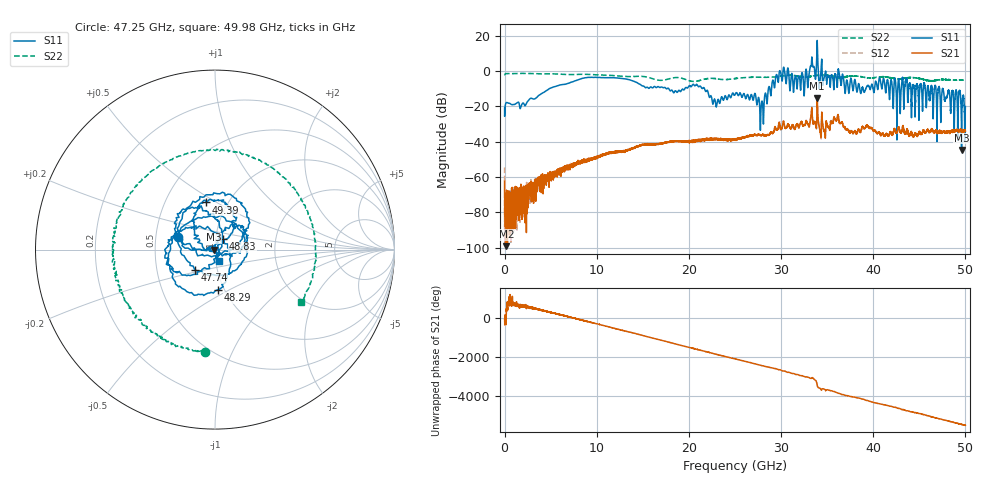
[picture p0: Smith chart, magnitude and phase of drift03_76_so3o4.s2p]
!Created with skrf (http://scikit-rf.org).
# Hz S RI R 50.0
!freq ReS11 ImS11 ReS21 ImS21 ReS12 ImS12 ReS22 ImS22
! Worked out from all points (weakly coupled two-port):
!   10001 points, 300 kHz to 50 GHz, reference 50 ohm
!   highest |S21| = -15.54 dB at 33.92 GHz (marker M1); lowest = -99.2 dB at 185.3 MHz (marker M2)
!   lowest |S11| = -44.6 dB at 49.59 GHz (marker M3), VSWR 1.01, Z = 49.4 - j0.0797 ohm
!   |S11| at or under -10 dB: start of sweep to 4.848 GHz; 21.69 GHz to 28.62 GHz (6.934 GHz wide, 27.6 % of centre); 47.54 GHz to end of sweep (the widest 3 of 46)
!   |S22| runs from -5.9 to -1.3 dB; largest |S21 - S12| = 0.018
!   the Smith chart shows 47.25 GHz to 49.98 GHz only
!   S11 on the Smith chart (normalised r, x): 47.25 GHz: 0.65, +0.09; 47.74 GHz: 0.78, -0.18; 48.29 GHz: 0.93, -0.44; 48.83 GHz: 1.09, +0.13; 49.39 GHz: 0.80, +0.45; 49.98 GHz: 1.03, -0.14
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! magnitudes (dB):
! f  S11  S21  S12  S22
! 300 kHz  -21.1  -62.3  -54.6  -2.0
! 185.3 MHz  -17.9  -99.2  -70.4  -1.5
! 8.335 GHz  -4.3  -51.7  -51.8  -1.9
! 16.67 GHz  -8.8  -41.6  -41.6  -5.2
! 21.01 GHz  -8.7  -39.1  -39.0  -5.5
! 22.81 GHz  -16.1  -38.2  -38.6  -4.2
! 25 GHz  -13.4  -39.1  -38.6  -4.3
! 27.92 GHz  -17.2  -36.5  -36.3  -3.5
! 29.69 GHz  -6.4  -32.0  -31.7  -3.1
! 32.32 GHz  -1.5  -30.3  -30.5  -3.3
! 33.34 GHz  7.8  -20.6  -21.0  -2.9
! 33.92 GHz  17.3  -15.5  -15.8  -2.5
! 38.82 GHz  -9.3  -31.5  -31.7  -3.3
! 41.67 GHz  -9.0  -36.8  -36.5  -3.7
! 47.25 GHz  -13.2  -33.9  -33.8  -4.8
! 47.74 GHz  -16.0  -34.3  -34.4  -4.9
! 48.29 GHz  -13.0  -34.0  -34.5  -5.0
! 48.83 GHz  -22.7  -33.9  -33.9  -5.1
! 49.39 GHz  -11.5  -34.0  -33.6  -5.1
! 49.59 GHz  -44.6  -34.6  -34.1  -5.1
! 49.98 GHz  -23.2  -33.8  -33.7  -5.0
! 50 GHz  -20.1  -34.0  -34.3  -4.9
